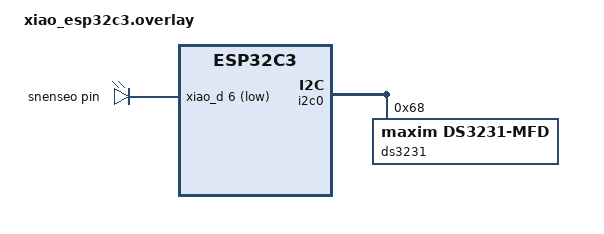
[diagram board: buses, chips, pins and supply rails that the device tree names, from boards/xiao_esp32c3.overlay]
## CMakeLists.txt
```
# SPDX-License-Identifier: Apache-2.0

cmake_minimum_required(VERSION 3.20.0)

find_package(Zephyr REQUIRED HINTS $ENV{ZEPHYR_BASE})
project(snenseo)

add_subdirectory(modules)

target_sources(app PRIVATE src/main.c)
```

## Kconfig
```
# SPDX-License-Identifier: Apache-2.0

mainmenu "Snenseo"

rsource "modules/Kconfig"
source "Kconfig.zephyr"
```

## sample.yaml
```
sample:
  description: BLE device with snenseo service 
  name: snenseo
#common:
#  min_ram: 2
#  min_flash: 16
#  tags: introduction
#  integration_platforms:
#    - native_sim
#  harness: console
#  harness_config:
#    type: one_line
#    regex:
#      - "Hello World! (.*)"
#tests:
#  sample.basic.helloworld:
#    tags: introduction
```

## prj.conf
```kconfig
CONFIG_LOG=y

CONFIG_SNENSEO_BLE_CONNECTION=y
CONFIG_BT=y
CONFIG_BT_PERIPHERAL=y
CONFIG_SNENSEO_BLE_SVC_LOG_LEVEL=4

# Update Data Length and MTU
CONFIG_BT_USER_DATA_LEN_UPDATE=y
CONFIG_BT_CTLR_DATA_LENGTH_MAX=251
CONFIG_BT_BUF_ACL_RX_SIZE=251
CONFIG_BT_BUF_ACL_TX_SIZE=251
CONFIG_BT_L2CAP_TX_MTU=247

# Needed in order to be able to Update MTU
CONFIG_BT_GATT_CLIENT=y

CONFIG_SNENSEO_MACHINE=y
CONFIG_GPIO=y

CONFIG_SNENSEO_TIME=y
CONFIG_RTC=y

# Configure heap memory pool size for k_malloc 
CONFIG_HEAP_MEM_POOL_SIZE=512
```

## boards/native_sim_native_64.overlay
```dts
/*
 * SPDX-License-Identifier: Apache-2.0
 */

/ {
	aliases {
		snenseo-rtc = &rtc;
		snenseo-pin = &led0;
	};
};
```

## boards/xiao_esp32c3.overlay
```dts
/*
 * SPDX-License-Identifier: Apache-2.0
 */

/ {
	aliases {
		snenseo-rtc = &ds3231_rtc;
		snenseo-pin = &snenseo_pin;
	};

	leds {
        compatible = "gpio-leds";
        snenseo_pin: led_0 {
            gpios = <&xiao_d 6 GPIO_ACTIVE_LOW>;
            label = "snenseo pin";
        };
	};
};

&i2c0 {
	ds3231: ds3231@68 {
        	compatible = "maxim,ds3231-mfd";
        	reg = <0x68>;
        	status = "okay";

		ds3231_rtc: ds3231_rtc {
                	compatible = "maxim,ds3231-rtc";
                	status = "okay";
			isw-gpios = <&gpio0 2 (GPIO_PULL_UP | GPIO_ACTIVE_LOW)>;
		};
	};
};
```

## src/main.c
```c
/*
 * Copyright (c) 2012-2014 Wind River Systems, Inc.
 *
 * SPDX-License-Identifier: Apache-2.0
 */

#include <stdio.h>
#include "snenseo_ble_connection.h"
#include "snenseo_ble_svc.h"
#include "snenseo_machine.h"
#ifdef CONFIG_SNENSEO_TIME
#include "snenseo_time.h"
#endif

int main(void)
{
	snenseo_init_machine();
	#ifdef CONFIG_SNENSEO_TIME
	snenseo_register_set_time_handler(snenseo_time_set_date_time);
	#endif
	snenseo_register_turn_on_handler(snenseo_machine_turn_on);
	printk("Initializing Snenseo connection\n");
	if (!snenseo_ble_connection_init()) {
		printk("Failed to initialize Snenseo connection\n");
		return 0;
	}
	printk("Initializing Snenseo connection success\n");
	return 0;
}
```
